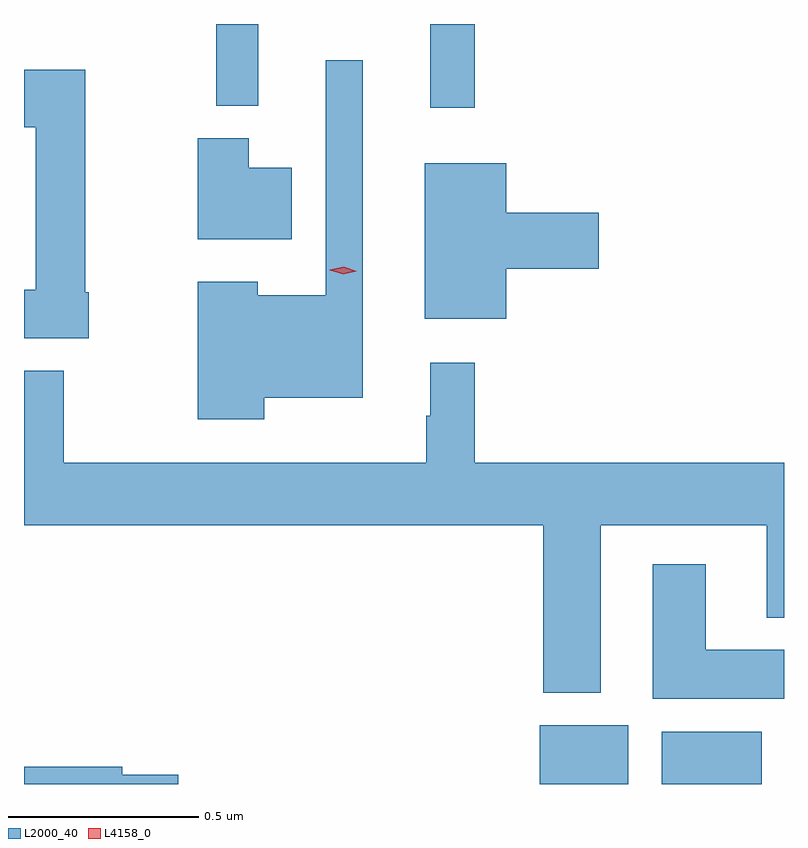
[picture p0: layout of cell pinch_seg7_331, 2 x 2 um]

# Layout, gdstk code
import gdstk
lib = gdstk.Library(unit=1e-6, precision=1e-09)
def R(c, l, rs):  # rectangles x0, y0, x1, y1
    for r in rs: c.add(gdstk.rectangle(r[:2], r[2:], *l))
def P(c, l, *ps):  # polygons
    for p in ps: c.add(gdstk.Polygon(p, *l))
L2000_40 = (2000, 40)
L4158_0 = (4158, 0)

pinch_seg7_331 = lib.new_cell('pinch_seg7_331')
R(pinch_seg7_331, L2000_40, [(371.372,1049.219,371.605,1049.374), (371.693,1049.219,371.956,1049.356), (371.084,1050.999,371.201,1051.219), (370.521,1051.004,370.631,1051.219)])
P(pinch_seg7_331, L2000_40, [(370.647,1050.236),(370.906,1050.236),(370.906,1051.123),(370.809,1051.123),(370.809,1050.505),(370.63,1050.505),(370.63,1050.541),(370.472,1050.541),(370.472,1050.179),(370.647,1050.179)],
  [(370.186,1050.513),(370.176,1050.513),(370.176,1051.099),(370.015,1051.099),(370.015,1050.947),(370.046,1050.947),(370.046,1050.52),(370.015,1050.52),(370.015,1050.392),(370.186,1050.392)],
  [(370.72,1050.841),(370.606,1050.841),(370.606,1050.919),(370.472,1050.919),(370.472,1050.653),(370.72,1050.653)],
  [(371.284,1050.575),(371.527,1050.575),(371.527,1050.722),(371.284,1050.722),(371.284,1050.853),(371.069,1050.853),(371.069,1050.443),(371.284,1050.443)],
  [(371.533,1049.9),(371.969,1049.9),(371.969,1049.657),(372.015,1049.657),(372.015,1050.064),(371.201,1050.064),(371.201,1050.328),(371.084,1050.328),(371.084,1050.188),(371.073,1050.188),(371.073,1050.064),(370.119,1050.064),(370.119,1050.307),(370.015,1050.307),(370.015,1049.9),(371.381,1049.9),(371.381,1049.459),(371.533,1049.459)],
  [(372.015,1049.572),(371.809,1049.572),(371.809,1049.797),(371.669,1049.797),(371.669,1049.444),(372.015,1049.444)],
  [(370.421,1049.244),(370.274,1049.244),(370.274,1049.264),(370.015,1049.264),(370.015,1049.219),(370.421,1049.219)])
P(pinch_seg7_331, L4158_0, [(370.855,1050.56),(370.82,1050.571),(370.819,1050.572),(370.82,1050.572),(370.856,1050.58),(370.891,1050.569),(370.891,1050.569),(370.891,1050.568)])

lib.write_gds('pinch_seg7_331.gds')
